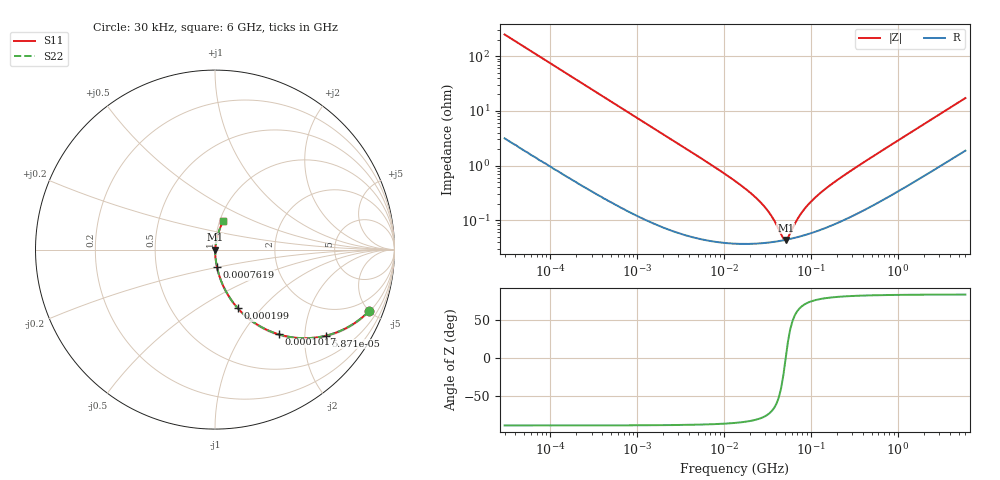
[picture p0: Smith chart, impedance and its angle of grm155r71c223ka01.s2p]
!Murata Part Number:GRM155R71C223KA01
!These Parameters are Measured in Series Mode Connection
!  o--ll--o
!Port1  Port2
!  o------o
!Operation Temp=25[C], DC Bias Voltage=0[V]
!Freq. Start=30[kHz] Stop=6[GHz], 201[Steps]
# Hz S DB R 50
!Freq.[Hz] MagS11[dB] PhaseS11[DEG] MagS21[dB] PhaseS21[DEG] MagS12[dB] PhaseS12[DEG] MagS22[dB] PhaseS22[DEG]
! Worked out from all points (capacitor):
!   201 points, 30 kHz to 6 GHz, reference 50 ohm
!   read as one part in series: C = 21.2 nF near 31.89 kHz
!   lowest |Z| = 43.6 mohm at 51.37 MHz (marker M1)
!   series resonance near 51.37 MHz, so ESL is about 450 pH
!   S11 on the Smith chart (normalised r, x): 30 kHz: 1.06, -4.99; 58.7 kHz: 1.03, -2.55; 101.7 kHz: 1.02, -1.47; 199 kHz: 1.01, -0.75; 761.9 kHz: 1.00, -0.20; 6 GHz: 1.04, +0.34
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30000  -0.68 -21.7  -8.63 67.6  -8.63 67.6  -0.68 -21.7
58705  -2.13 -37.8  -4.25 51.5  -4.25 51.5  -2.13 -37.8
101677  -4.59 -53.1  -1.94 36.1  -1.94 36.1  -4.59 -53.1
146641  -6.88 -62.3  -1.05 26.9  -1.05 26.9  -6.88 -62.3
198967  -9.10 -68.7  -0.61 20.5  -0.61 20.5  -9.10 -68.7
238944  -10.51 -71.9  -0.44 17.3  -0.44 17.3  -10.51 -71.9
439894  -15.52 -79.5  -0.14 9.6  -0.14 9.6  -15.52 -79.5
761893  -20.20 -83.5  -0.05 5.6  -0.05 5.6  -20.20 -83.5
1790467  -27.59 -86.5  -0.01 2.4  -0.01 2.4  -27.59 -86.5
1.341641e7  -45.65 -85.6  -0.00 0.3  -0.00 0.3  -45.65 -85.6
2.186137e7  -50.96 -82.3  -0.00 0.2  -0.00 0.2  -50.96 -82.3
2.966219e7  -55.26 -77.1  -0.00 0.1  -0.00 0.1  -55.26 -77.1
3.786377e7  -60.10 -66.0  -0.00 0.1  -0.00 0.1  -60.10 -66.0
4.833307e7  -66.69 -22.6  -0.00 0.0  -0.00 0.0  -66.69 -22.6
5.137473e7  -67.22 0.1  -0.00 -0.0  -0.00 -0.0  -67.22 0.1
5.46078e7  -66.39 21.9  -0.00 -0.0  -0.00 -0.0  -66.39 21.9
7.409356e7  -58.41 65.3  -0.00 -0.1  -0.00 -0.1  -58.41 65.3
1.068591e8  -52.37 75.5  -0.01 -0.1  -0.01 -0.1  -52.37 75.5
2.091067e8  -44.96 80.5  -0.01 -0.3  -0.01 -0.3  -44.96 80.5
8.007212e8  -32.86 81.9  -0.03 -1.3  -0.03 -1.3  -32.86 81.9
2.553167e9  -22.83 79.5  -0.09 -4.1  -0.09 -4.1  -22.83 79.5
6e9  -15.60 74.2  -0.28 -9.5  -0.28 -9.5  -15.60 74.2
